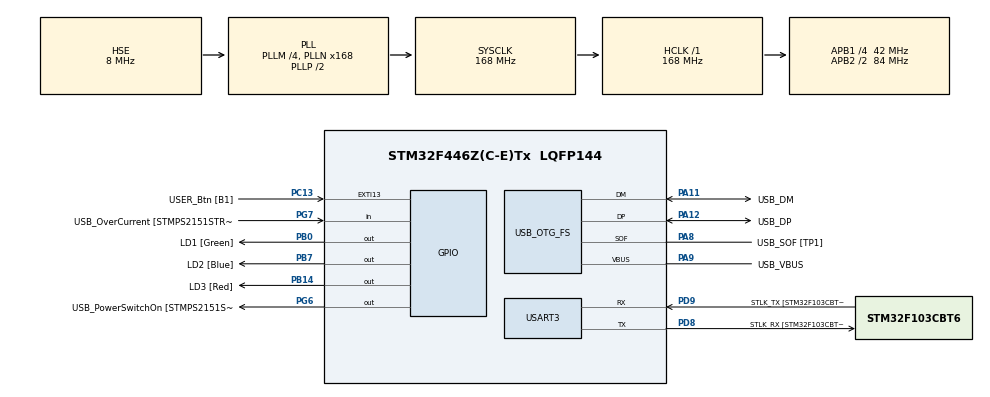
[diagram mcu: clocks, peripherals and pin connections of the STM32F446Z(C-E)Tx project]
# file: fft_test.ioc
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Mcu.Family=STM32F4
Mcu.Name=STM32F446Z(C-E)Tx
Mcu.Package=LQFP144
NVIC.PriorityGroup=NVIC_PRIORITYGROUP_4
PA10.GPIO_Label=USB_ID
PA10.Signal=USB_OTG_FS_ID
PA11.GPIO_Label=USB_DM
PA11.Mode=Device_Only
PA11.Signal=USB_OTG_FS_DM
PA12.GPIO_Label=USB_DP
PA12.Mode=Device_Only
PA12.Signal=USB_OTG_FS_DP
PA13.GPIO_Label=TMS
PA13.Mode=Serial_Wire
PA13.Signal=SYS_JTMS-SWDIO
PA14.GPIO_Label=TCK
PA14.Mode=Serial_Wire
PA14.Signal=SYS_JTCK-SWCLK
PA8.GPIO_Label=USB_SOF [TP1]
PA8.Mode=Activate_SOF_FS
PA8.Signal=USB_OTG_FS_SOF
PA9.GPIO_Label=USB_VBUS
PA9.Mode=Activate_VBUS
PA9.Signal=USB_OTG_FS_VBUS
PB0.GPIO_Label=LD1 [Green]
PB0.Signal=GPIO_Output
PB14.GPIO_Label=LD3 [Red]
PB14.Signal=GPIO_Output
PB7.GPIO_Label=LD2 [Blue]
PB7.Signal=GPIO_Output
PC13.GPIO_Label=USER_Btn [B1]
PC13.Signal=GPXTI13
PC14-OSC32_IN.Mode=LSE-External-Oscillator
PC14-OSC32_IN.Signal=RCC_OSC32_IN
PC15-OSC32_OUT.Mode=LSE-External-Oscillator
PC15-OSC32_OUT.Signal=RCC_OSC32_OUT
PD8.GPIO_Label=STLK_RX [STM32F103CBT6_PA3]
PD8.Mode=Asynchronous
PD8.Signal=USART3_TX
PD9.GPIO_Label=STLK_TX [STM32F103CBT6_PA2]
PD9.Mode=Asynchronous
PD9.Signal=USART3_RX
PG6.GPIO_Label=USB_PowerSwitchOn [STMPS2151STR_EN]
PG6.Signal=GPIO_Output
PG7.GPIO_Label=USB_OverCurrent [STMPS2151STR_FAULT]
PG7.Signal=GPIO_Input
PH0-OSC_IN.GPIO_Label=MCO [STM32F103CBT6_PA8]
PH0-OSC_IN.Mode=HSE-External-Clock-Source
PH0-OSC_IN.Signal=RCC_OSC_IN
PH1-OSC_OUT.Mode=HSE-External-Clock-Source
PH1-OSC_OUT.Signal=RCC_OSC_OUT
ProjectManager.HeapSize=0x200
ProjectManager.StackSize=0x400
ProjectManager.TargetToolchain=STM32CubeIDE
RCC.48MHZClocksFreq_Value=24000000
RCC.AHBFreq_Value=168000000
RCC.APB1CLKDivider=RCC_HCLK_DIV4
RCC.APB1Freq_Value=42000000
RCC.APB1TimFreq_Value=84000000
RCC.APB2CLKDivider=RCC_HCLK_DIV2
RCC.APB2Freq_Value=84000000
RCC.APB2TimFreq_Value=168000000
RCC.CortexFreq_Value=168000000
RCC.HCLKFreq_Value=168000000
RCC.HSE_VALUE=8000000
RCC.HSI_VALUE=16000000
RCC.PLLM=4
RCC.PLLMUL=RCC_PLL_MUL9
RCC.PLLN=168
RCC.PLLQ=7
RCC.PRESCALERUSB=RCC_USBCLKSOURCE_PLL_DIV1_5
RCC.SYSCLKFreq_VALUE=168000000
RCC.SYSCLKSource=RCC_SYSCLKSOURCE_PLLCLK
RCC.SYSCLKSourceVirtual=RCC_SYSCLKSOURCE_PLLCLK
RCC.USBFreq_Value=48000000
RCC.VCOOutputFreq_Value=336000000
USART3.VirtualMode=VM_ASYNC
USB_OTG_FS.VirtualMode=Device_Only
board=NUCLEO-F446ZE

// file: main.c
/**
  ******************************************************************************
  * @file           : main.c
  * @brief          : Main program body
  ******************************************************************************
  * @attention
  *
  * Copyright (c) 2024 STMicroelectronics.
  * All rights reserved.
  *
  * This software is licensed under terms that can be found in the LICENSE file
  * in the root directory of this software component.
  * If no LICENSE file comes with this software, it is provided AS-IS.
  *
  ******************************************************************************
  */
/* USER CODE END Header */
#include "main.h"

/* USER CODE BEGIN Includes */
#include "arm_math.h"
#include <stdio.h>
#include "core_cm4.h"
#include "stm32f4xx_hal.h"
/* USER CODE END Includes */

/* USER CODE BEGIN PD */
#define LISTENING 0xEA
#define PROCESS_CMD 0xEB
#define FFT_PROCESS 0xEF
#define SEND_MEAS_UC 0xEE
#define SAMPLE_NUM_MAX 16384

#define SAMPLE_RATE 2048          // Exemple de fréquence d'échantillonnage
#define NUM_SAMPLES 8192           // Nombre d'échantillons
#define FREQUENCY 50               // Fréquence de l'onde sinusoïdale
#define AMPLITUDE 1.0              // Amplitude de l'onde sinusoïdale
float32_t signal[SAMPLE_NUM_MAX] = {0.0};
float32_t output[SAMPLE_NUM_MAX/2] = {0.0};
int counter = 0;
uint32_t clk_ticks = 0;
float32_t time_us = 0.0;
/* USER CODE END PD */

UART_HandleTypeDef huart3;

PCD_HandleTypeDef hpcd_USB_OTG_FS;

/* USER CODE BEGIN PV */
uint8_t cmd = LISTENING;
uint8_t rx_data[12];
/* USER CODE END PV */

void SystemClock_Config(void);
static void MX_GPIO_Init(void);
static void MX_USART3_UART_Init(void);
static void MX_USB_OTG_FS_PCD_Init(void);

/* USER CODE BEGIN 0 */
#ifdef __GNUC__
/* With GCC/RAISONANCE, small printf (option LD Linker->Libraries->Small printf
 set to 'Yes') calls __io_putchar() */
#define PUTCHAR_PROTOTYPE int __io_putchar(int ch)
#else
#define PUTCHAR_PROTOTYPE int fputc(int ch, FILE *f)
#endif /* __GNUC__ */

void start_measurement(void)
{
  DWT->CYCCNT = 0;
  DWT->CTRL |= DWT_CTRL_CYCCNTENA_Msk;
}

uint32_t stop_measurement(void)
{
  return DWT->CYCCNT;
}

float32_t time_of_execution(uint32_t nb_of_cycles)
{
  return 1000000*(float32_t)nb_of_cycles / HAL_RCC_GetHCLKFreq();
}

void generate_sine_wave(float32_t* signal, float32_t* output, float32_t freq, uint32_t num_samples, uint32_t sample_rate, float32_t amplitude)
{
  for (uint32_t i = 0; i < num_samples; i++)
  {
    float32_t t = (float32_t)i / sample_rate;
    float32_t angle = 2 * PI * freq * t;
    signal[i] = amplitude * arm_sin_f32(angle);
  }
}

void perform_fft(uint32_t nb_s) {
    arm_cfft_instance_f32 fft_instance;

    // Initialisation de l'instance de FFT pour une longueur de 1024
    arm_cfft_init_f32(&fft_instance, nb_s);

    // Calcul de la FFT
    arm_cfft_f32(&fft_instance, signal, 0, 1);

    // Conversion des résultats de la FFT en magnitudes
    arm_cmplx_mag_f32(signal, output, nb_s/2);
}

void send_result(float32_t *tx_data, uint16_t len)
{
  uint8_t data_to_send[4] = {0}; // Changer la taille à 4 octets pour float32_t
  uint32_t sof = 6969;
  uint32_t eof = 9999;
  uint32_t num;

  data_to_send[0] = (sof >> 24) & 0xFF;
  data_to_send[1] = (sof >> 16) & 0xFF;
  data_to_send[2] = (sof >> 8) & 0xFF;
  data_to_send[3] = (sof) & 0xFF;
  HAL_UART_Transmit(&huart3, data_to_send, 4, HAL_MAX_DELAY);

  for (int i = 0; i < len; i++)
  {
    num = (uint32_t)(tx_data[i] * 1000000);
    data_to_send[0] = (num >> 24) & 0xFF;
    data_to_send[1] = (num >> 16) & 0xFF;
    data_to_send[2] = (num >> 8) & 0xFF;
    data_to_send[3] = (num) & 0xFF;
    counter += 1;
    HAL_UART_Transmit(&huart3, data_to_send, 4, HAL_MAX_DELAY);
  }

  data_to_send[0] = (eof >> 24) & 0xFF;
  data_to_send[1] = (eof >> 16) & 0xFF;
  data_to_send[2] = (eof >> 8) & 0xFF;
  data_to_send[3] = (eof) & 0xFF;
  HAL_UART_Transmit(&huart3, data_to_send, 4, HAL_MAX_DELAY);

}
/* USER CODE END 0 */

int main(void)
{

  /* MCU Configuration--------------------------------------------------------*/

  /* Reset of all peripherals, Initializes the Flash interface and the Systick. */
   HAL_Init();

  /* Configure the system clock */
  SystemClock_Config();

  /* Initialize all configured peripherals */
  MX_GPIO_Init();
  MX_USART3_UART_Init();
  MX_USB_OTG_FS_PCD_Init();
  /* Infinite loop */
  /* USER CODE BEGIN WHILE */
  while (1)
  {
    generate_sine_wave(signal, output, FREQUENCY, NUM_SAMPLES, SAMPLE_RATE, AMPLITUDE);

    start_measurement();
    perform_fft(NUM_SAMPLES);
    clk_ticks = stop_measurement();
    time_us = time_of_execution(clk_ticks);

    send_result(output, NUM_SAMPLES);
	  HAL_Delay(15000);
    /* USER CODE END WHILE */

  }
}

void SystemClock_Config(void)
{
  RCC_OscInitTypeDef RCC_OscInitStruct = {0};
  RCC_ClkInitTypeDef RCC_ClkInitStruct = {0};

  /** Configure the main internal regulator output voltage
  */
  __HAL_RCC_PWR_CLK_ENABLE();
  __HAL_PWR_VOLTAGESCALING_CONFIG(PWR_REGULATOR_VOLTAGE_SCALE1);
  /** Initializes the RCC Oscillators according to the specified parameters
  * in the RCC_OscInitTypeDef structure.
  */
  RCC_OscInitStruct.OscillatorType = RCC_OSCILLATORTYPE_HSE;
  RCC_OscInitStruct.HSEState = RCC_HSE_BYPASS;
  RCC_OscInitStruct.PLL.PLLState = RCC_PLL_ON;
  RCC_OscInitStruct.PLL.PLLSource = RCC_PLLSOURCE_HSE;
  RCC_OscInitStruct.PLL.PLLM = 4;
  RCC_OscInitStruct.PLL.PLLN = 168;
  RCC_OscInitStruct.PLL.PLLP = RCC_PLLP_DIV2;
  RCC_OscInitStruct.PLL.PLLQ = 7;
  RCC_OscInitStruct.PLL.PLLR = 2;
  if (HAL_RCC_OscConfig(&RCC_OscInitStruct) != HAL_OK)
  {
    Error_Handler();
  }
  /** Initializes the CPU, AHB and APB buses clocks
  */
  RCC_ClkInitStruct.ClockType = RCC_CLOCKTYPE_HCLK|RCC_CLOCKTYPE_SYSCLK
                              |RCC_CLOCKTYPE_PCLK1|RCC_CLOCKTYPE_PCLK2;
  RCC_ClkInitStruct.SYSCLKSource = RCC_SYSCLKSOURCE_PLLCLK;
  RCC_ClkInitStruct.AHBCLKDivider = RCC_SYSCLK_DIV1;
  RCC_ClkInitStruct.APB1CLKDivider = RCC_HCLK_DIV4;
  RCC_ClkInitStruct.APB2CLKDivider = RCC_HCLK_DIV2;

  if (HAL_RCC_ClockConfig(&RCC_ClkInitStruct, FLASH_LATENCY_5) != HAL_OK)
  {
    Error_Handler();
  }
}

static void MX_USART3_UART_Init(void)
{

  huart3.Instance = USART3;
  huart3.Init.BaudRate = 115200;
  huart3.Init.WordLength = UART_WORDLENGTH_8B;
  huart3.Init.StopBits = UART_STOPBITS_1;
  huart3.Init.Parity = UART_PARITY_NONE;
  huart3.Init.Mode = UART_MODE_TX_RX;
  huart3.Init.HwFlowCtl = UART_HWCONTROL_NONE;
  huart3.Init.OverSampling = UART_OVERSAMPLING_16;
  if (HAL_UART_Init(&huart3) != HAL_OK)
  {
    Error_Handler();
  }

}

static void MX_USB_OTG_FS_PCD_Init(void)
{

  hpcd_USB_OTG_FS.Instance = USB_OTG_FS;
  hpcd_USB_OTG_FS.Init.dev_endpoints = 6;
  hpcd_USB_OTG_FS.Init.speed = PCD_SPEED_FULL;
  hpcd_USB_OTG_FS.Init.dma_enable = DISABLE;
  hpcd_USB_OTG_FS.Init.phy_itface = PCD_PHY_EMBEDDED;
  hpcd_USB_OTG_FS.Init.Sof_enable = ENABLE;
  hpcd_USB_OTG_FS.Init.low_power_enable = DISABLE;
  hpcd_USB_OTG_FS.Init.lpm_enable = DISABLE;
  hpcd_USB_OTG_FS.Init.vbus_sensing_enable = ENABLE;
  hpcd_USB_OTG_FS.Init.use_dedicated_ep1 = DISABLE;
  if (HAL_PCD_Init(&hpcd_USB_OTG_FS) != HAL_OK)
  {
    Error_Handler();
  }

}

static void MX_GPIO_Init(void)
{
  GPIO_InitTypeDef GPIO_InitStruct = {0};

  /* GPIO Ports Clock Enable */
  __HAL_RCC_GPIOC_CLK_ENABLE();
  __HAL_RCC_GPIOH_CLK_ENABLE();
  __HAL_RCC_GPIOB_CLK_ENABLE();
  __HAL_RCC_GPIOD_CLK_ENABLE();
  __HAL_RCC_GPIOG_CLK_ENABLE();
  __HAL_RCC_GPIOA_CLK_ENABLE();

  /*Configure GPIO pin Output Level */
  HAL_GPIO_WritePin(GPIOB, LD1_Pin|LD3_Pin|LD2_Pin, GPIO_PIN_RESET);

  /*Configure GPIO pin Output Level */
  HAL_GPIO_WritePin(USB_PowerSwitchOn_GPIO_Port, USB_PowerSwitchOn_Pin, GPIO_PIN_RESET);

  /*Configure GPIO pin : USER_Btn_Pin */
  GPIO_InitStruct.Pin = USER_Btn_Pin;
  GPIO_InitStruct.Mode = GPIO_MODE_IT_RISING;
  GPIO_InitStruct.Pull = GPIO_NOPULL;
  HAL_GPIO_Init(USER_Btn_GPIO_Port, &GPIO_InitStruct);

  /*Configure GPIO pins : LD1_Pin LD3_Pin LD2_Pin */
  GPIO_InitStruct.Pin = LD1_Pin|LD3_Pin|LD2_Pin;
  GPIO_InitStruct.Mode = GPIO_MODE_OUTPUT_PP;
  GPIO_InitStruct.Pull = GPIO_NOPULL;
  GPIO_InitStruct.Speed = GPIO_SPEED_FREQ_LOW;
  HAL_GPIO_Init(GPIOB, &GPIO_InitStruct);

  /*Configure GPIO pin : USB_PowerSwitchOn_Pin */
  GPIO_InitStruct.Pin = USB_PowerSwitchOn_Pin;
  GPIO_InitStruct.Mode = GPIO_MODE_OUTPUT_PP;
  GPIO_InitStruct.Pull = GPIO_NOPULL;
  GPIO_InitStruct.Speed = GPIO_SPEED_FREQ_LOW;
  HAL_GPIO_Init(USB_PowerSwitchOn_GPIO_Port, &GPIO_InitStruct);

  /*Configure GPIO pin : USB_OverCurrent_Pin */
  GPIO_InitStruct.Pin = USB_OverCurrent_Pin;
  GPIO_InitStruct.Mode = GPIO_MODE_INPUT;
  GPIO_InitStruct.Pull = GPIO_NOPULL;
  HAL_GPIO_Init(USB_OverCurrent_GPIO_Port, &GPIO_InitStruct);

}

void Error_Handler(void)
{
  __disable_irq();
  while (1)
  {
  }
}

/************************ (C) COPYRIGHT STMicroelectronics *****END OF FILE****/
